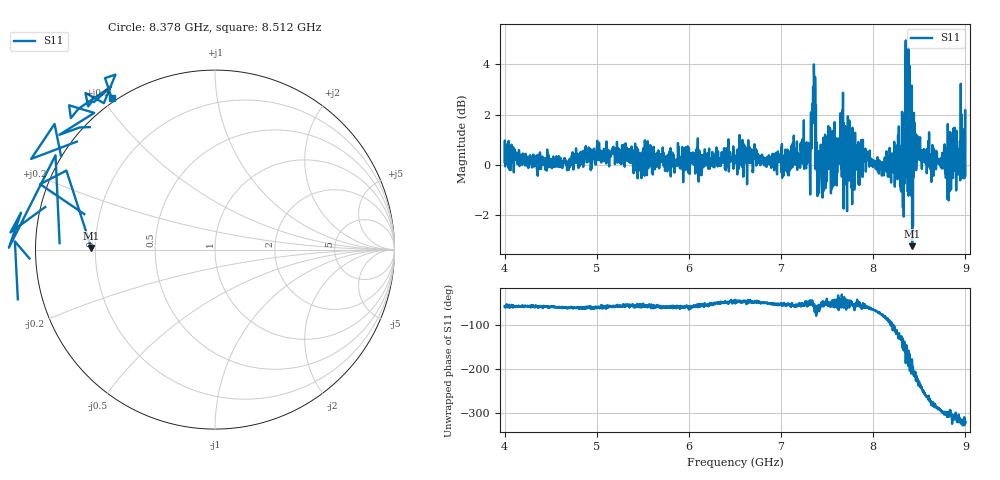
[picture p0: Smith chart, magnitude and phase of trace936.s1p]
! Created with skrf 1.8.0 (http://scikit-rf.org).
# Hz S RI R 50.0
!freq ReS11 ImS11
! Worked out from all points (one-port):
!   1601 points, 4 GHz to 9 GHz, reference 50 ohm
!   lowest |S11| = -3.2 dB at 8.422 GHz (marker M1), VSWR 5.43, Z = 9.21 + j0.323 ohm
!   |S11| at or under -10 dB: nowhere
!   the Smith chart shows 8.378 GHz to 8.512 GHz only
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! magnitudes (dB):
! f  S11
! 4 GHz  0.1
! 4.625 GHz  -0.1
! 5.25 GHz  0.1
! 5.875 GHz  0.1
! 6.5 GHz  0.1
! 7.125 GHz  0.8
! 7.294 GHz  0.9
! 7.328 GHz  1.2
! 7.347 GHz  3.1
! 7.366 GHz  2.0
! 7.406 GHz  -0.6
! 7.512 GHz  1.5
! 7.616 GHz  0.8
! 7.669 GHz  1.7
! 7.703 GHz  0.9
! 7.75 GHz  -0.2
! 8.284 GHz  0.8
! 8.316 GHz  1.8
! 8.338 GHz  -0.8
! 8.356 GHz  1.1
! 8.359 GHz  1.1
! 8.375 GHz  -1.1
! 8.381 GHz  -1.2
! 8.422 GHz  -3.2
! 8.806 GHz  0.5
! 8.859 GHz  0.7
! 8.972 GHz  0.4
! 9 GHz  -0.4
